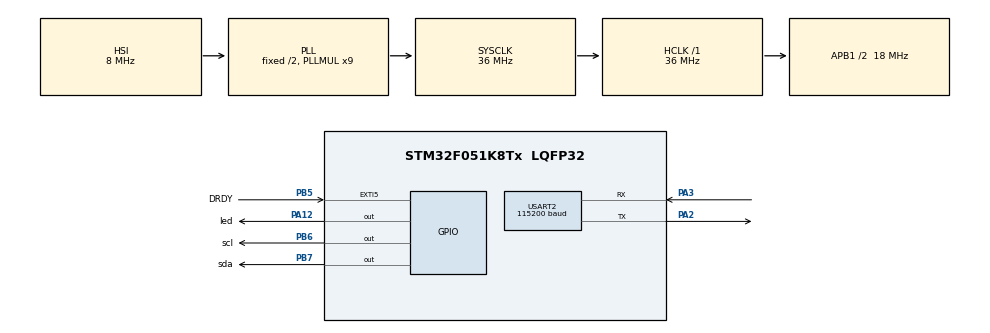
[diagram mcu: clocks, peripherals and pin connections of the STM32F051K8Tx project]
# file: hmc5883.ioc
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Mcu.Family=STM32F0
Mcu.Name=STM32F051K8Tx
Mcu.Package=LQFP32
NVIC.EXTI4_15_IRQn=true\:0\:0\:false\:false\:true\:true
PA12.GPIO_Label=led
PA12.Signal=GPIO_Output
PA13.Mode=Serial_Wire
PA13.Signal=SYS_SWDIO
PA14.Mode=Serial_Wire
PA14.Signal=SYS_SWCLK
PA2.Mode=Asynchronous
PA2.Signal=USART2_TX
PA3.Mode=Asynchronous
PA3.Signal=USART2_RX
PB5.GPIO_Label=DRDY
PB5.GPIO_ModeDefaultEXTI=GPIO_MODE_IT_FALLING
PB5.Signal=GPXTI5
PB6.GPIO_Label=scl
PB6.Signal=GPIO_Output
PB7.GPIO_Label=sda
PB7.Signal=GPIO_Output
ProjectManager.HeapSize=0x200
ProjectManager.StackSize=0x400
ProjectManager.TargetToolchain=EWARM V7
RCC.AHBFreq_Value=36000000
RCC.APB1CLKDivider=RCC_HCLK_DIV2
RCC.APB1Freq_Value=18000000
RCC.APB1TimFreq_Value=36000000
RCC.HCLKFreq_Value=36000000
RCC.PLLMUL=RCC_PLL_MUL9
RCC.SYSCLKFreq_VALUE=36000000
RCC.SYSCLKSource=RCC_SYSCLKSOURCE_PLLCLK
USART2.BaudRate=115200
USART2.VirtualMode-Asynchronous=VM_ASYNC
board=custom

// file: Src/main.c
/* USER CODE BEGIN Header */
/**
  ******************************************************************************
  * @file           : main.c
  * @brief          : Main program body
  ******************************************************************************
  ** This notice applies to any and all portions of this file
  * that are not between comment pairs USER CODE BEGIN and
  * USER CODE END. Other portions of this file, whether
  * inserted by the user or by software development tools
  * are owned by their respective copyright owners.
  *
  * COPYRIGHT(c) 2018 STMicroelectronics
  *
  * Redistribution and use in source and binary forms, with or without modification,
  * are permitted provided that the following conditions are met:
  *   1. Redistributions of source code must retain the above copyright notice,
  *      this list of conditions and the following disclaimer.
  *   2. Redistributions in binary form must reproduce the above copyright notice,
  *      this list of conditions and the following disclaimer in the documentation
  *      and/or other materials provided with the distribution.
  *   3. Neither the name of STMicroelectronics nor the names of its contributors
  *      may be used to endorse or promote products derived from this software
  *      without specific prior written permission.
  *
  * THIS SOFTWARE IS PROVIDED BY THE COPYRIGHT HOLDERS AND CONTRIBUTORS "AS IS"
  * AND ANY EXPRESS OR IMPLIED WARRANTIES, INCLUDING, BUT NOT LIMITED TO, THE
  * IMPLIED WARRANTIES OF MERCHANTABILITY AND FITNESS FOR A PARTICULAR PURPOSE ARE
  * DISCLAIMED. IN NO EVENT SHALL THE COPYRIGHT HOLDER OR CONTRIBUTORS BE LIABLE
  * FOR ANY DIRECT, INDIRECT, INCIDENTAL, SPECIAL, EXEMPLARY, OR CONSEQUENTIAL
  * DAMAGES (INCLUDING, BUT NOT LIMITED TO, PROCUREMENT OF SUBSTITUTE GOODS OR
  * SERVICES; LOSS OF USE, DATA, OR PROFITS; OR BUSINESS INTERRUPTION) HOWEVER
  * CAUSED AND ON ANY THEORY OF LIABILITY, WHETHER IN CONTRACT, STRICT LIABILITY,
  * OR TORT (INCLUDING NEGLIGENCE OR OTHERWISE) ARISING IN ANY WAY OUT OF THE USE
  * OF THIS SOFTWARE, EVEN IF ADVISED OF THE POSSIBILITY OF SUCH DAMAGE.
  *
  ******************************************************************************
  */
/* USER CODE END Header */

#include "main.h"

/* USER CODE BEGIN Includes */
#include "HMC5883L.h"
#include "filter.h"

/* USER CODE END Includes */

/* USER CODE BEGIN PTD */
short int manetic_buff[4];
float manetic_gauss_buff[4];
/* USER CODE END PTD */

/* USER CODE BEGIN PM */
unsigned char data_refresh_flag;

/* USER CODE END PM */

UART_HandleTypeDef huart2;

void SystemClock_Config(void);
static void MX_GPIO_Init(void);
static void MX_USART2_UART_Init(void);

/* USER CODE BEGIN 0 */
int fputc(int ch, FILE *f)
{
 uint8_t temp[1];
  temp[0]=ch;
   HAL_UART_Transmit(&huart2, temp, 1, 2);
	return 1;
}
void gauss_cal(short int *data1,float *data)
{
	unsigned char i;
	unsigned char range_tmp;
			switch((get_config_reg()&0x30))
			{
				case 0:range_tmp=2;break;
				case 0x10:range_tmp=8; break;
				default: range_tmp=8; break;
			}

	for(i=0;i<3;i++)
	{
		if(data1[i]<0)
		{
			data[i] = data1[i]/(32768.0)*range_tmp;
			//data[3] = data1[i]/(-100.0)*range_tmp;
		}
		else
		{
			data[i] = data1[i]/(32768.0)*range_tmp;
			//data[3] = data1[i]/(100.0)*range_tmp;
		}
	}

		if(data1[3]<0)
		{
			//data[i] = data1[i]/(32768.0)*range_tmp;
			data[3] = data1[i]/(-100.0);
		}
		else
		{
			//data[i] = data1[i]/(32768.0)*range_tmp;
			data[3] = data1[i]/(100.0);
		}
}
/* USER CODE END 0 */

int main(void)
{

  /* MCU Configuration--------------------------------------------------------*/

  /* Reset of all peripherals, Initializes the Flash interface and the Systick. */
  HAL_Init();

  /* Configure the system clock */
  SystemClock_Config();

  /* Initialize all configured peripherals */
  MX_GPIO_Init();
  MX_USART2_UART_Init();
  /* USER CODE BEGIN 2 */
   hmc_init();
	 hmc_read_XYZ(manetic_buff);
		//while( check_rdy_status()==0)
			//;
		//hmc_read_XYZ(manetic_buff);
		data_refresh_flag=0;
		gauss_cal(manetic_buff,manetic_gauss_buff);

   while(manetic_filter(1,manetic_gauss_buff)==0)
	 {
		// hmc_read_XYZ(manetic_buff);
		//while( check_rdy_status()==0)
		//	;
		hmc_read_XYZ(manetic_buff);
		data_refresh_flag=0;
		gauss_cal(manetic_buff,manetic_gauss_buff);
	}
  /* USER CODE END 2 */

  /* Infinite loop */
  while (1)
  {

    /* USER CODE BEGIN 3 */

    HAL_GPIO_TogglePin(led_GPIO_Port, led_Pin);

	//if(check_rdy_status()==1)
	{
		hmc_read_XYZ(manetic_buff);
	  data_refresh_flag=0;
		gauss_cal(manetic_buff,manetic_gauss_buff);
		manetic_filter(0,manetic_gauss_buff);
    Decision_Logic();
	}

  }
  /* USER CODE END 3 */
}

void SystemClock_Config(void)
{
  RCC_OscInitTypeDef RCC_OscInitStruct = {0};
  RCC_ClkInitTypeDef RCC_ClkInitStruct = {0};

  /**Initializes the CPU, AHB and APB busses clocks
  */
  RCC_OscInitStruct.OscillatorType = RCC_OSCILLATORTYPE_HSI;
  RCC_OscInitStruct.HSIState = RCC_HSI_ON;
  RCC_OscInitStruct.HSICalibrationValue = RCC_HSICALIBRATION_DEFAULT;
  RCC_OscInitStruct.PLL.PLLState = RCC_PLL_ON;
  RCC_OscInitStruct.PLL.PLLSource = RCC_PLLSOURCE_HSI;
  RCC_OscInitStruct.PLL.PLLMUL = RCC_PLL_MUL9;
  RCC_OscInitStruct.PLL.PREDIV = RCC_PREDIV_DIV1;
  if (HAL_RCC_OscConfig(&RCC_OscInitStruct) != HAL_OK)
  {
    Error_Handler();
  }
  /**Initializes the CPU, AHB and APB busses clocks
  */
  RCC_ClkInitStruct.ClockType = RCC_CLOCKTYPE_HCLK|RCC_CLOCKTYPE_SYSCLK
                              |RCC_CLOCKTYPE_PCLK1;
  RCC_ClkInitStruct.SYSCLKSource = RCC_SYSCLKSOURCE_PLLCLK;
  RCC_ClkInitStruct.AHBCLKDivider = RCC_SYSCLK_DIV1;
  RCC_ClkInitStruct.APB1CLKDivider = RCC_HCLK_DIV2;

  if (HAL_RCC_ClockConfig(&RCC_ClkInitStruct, FLASH_LATENCY_1) != HAL_OK)
  {
    Error_Handler();
  }
}

static void MX_USART2_UART_Init(void)
{

  huart2.Instance = USART2;
  huart2.Init.BaudRate = 115200;
  huart2.Init.WordLength = UART_WORDLENGTH_8B;
  huart2.Init.StopBits = UART_STOPBITS_1;
  huart2.Init.Parity = UART_PARITY_NONE;
  huart2.Init.Mode = UART_MODE_TX_RX;
  huart2.Init.HwFlowCtl = UART_HWCONTROL_NONE;
  huart2.Init.OverSampling = UART_OVERSAMPLING_16;
  huart2.Init.OneBitSampling = UART_ONE_BIT_SAMPLE_DISABLE;
  huart2.AdvancedInit.AdvFeatureInit = UART_ADVFEATURE_NO_INIT;
  if (HAL_UART_Init(&huart2) != HAL_OK)
  {
    Error_Handler();
  }

}

static void MX_GPIO_Init(void)
{
  GPIO_InitTypeDef GPIO_InitStruct = {0};

  /* GPIO Ports Clock Enable */
  __HAL_RCC_GPIOA_CLK_ENABLE();
  __HAL_RCC_GPIOB_CLK_ENABLE();

  /*Configure GPIO pin Output Level */
  HAL_GPIO_WritePin(led_GPIO_Port, led_Pin, GPIO_PIN_RESET);

  /*Configure GPIO pin Output Level */
  HAL_GPIO_WritePin(GPIOB, scl_Pin|sda_Pin, GPIO_PIN_RESET);

  /*Configure GPIO pin : led_Pin */
  GPIO_InitStruct.Pin = led_Pin;
  GPIO_InitStruct.Mode = GPIO_MODE_OUTPUT_PP;
  GPIO_InitStruct.Pull = GPIO_NOPULL;
  GPIO_InitStruct.Speed = GPIO_SPEED_FREQ_LOW;
  HAL_GPIO_Init(led_GPIO_Port, &GPIO_InitStruct);

  /*Configure GPIO pin : DRDY_Pin */
  GPIO_InitStruct.Pin = DRDY_Pin;
  GPIO_InitStruct.Mode = GPIO_MODE_IT_FALLING;
  GPIO_InitStruct.Pull = GPIO_NOPULL;
  HAL_GPIO_Init(DRDY_GPIO_Port, &GPIO_InitStruct);

  /*Configure GPIO pins : scl_Pin sda_Pin */
  GPIO_InitStruct.Pin = scl_Pin|sda_Pin;
  GPIO_InitStruct.Mode = GPIO_MODE_OUTPUT_PP;
  GPIO_InitStruct.Pull = GPIO_NOPULL;
  GPIO_InitStruct.Speed = GPIO_SPEED_FREQ_LOW;
  HAL_GPIO_Init(GPIOB, &GPIO_InitStruct);

  /* EXTI interrupt init*/
  HAL_NVIC_SetPriority(EXTI4_15_IRQn, 0, 0);
  HAL_NVIC_EnableIRQ(EXTI4_15_IRQn);

}

/* USER CODE BEGIN 4 */
void HAL_GPIO_EXTI_Callback(uint16_t GPIO_Pin)
{
	if(GPIO_Pin==GPIO_PIN_5)
    {
		data_refresh_flag = 1;
	}
}

/* USER CODE END 4 */

void Error_Handler(void)
{
}

/************************ (C) COPYRIGHT STMicroelectronics *****END OF FILE****/
